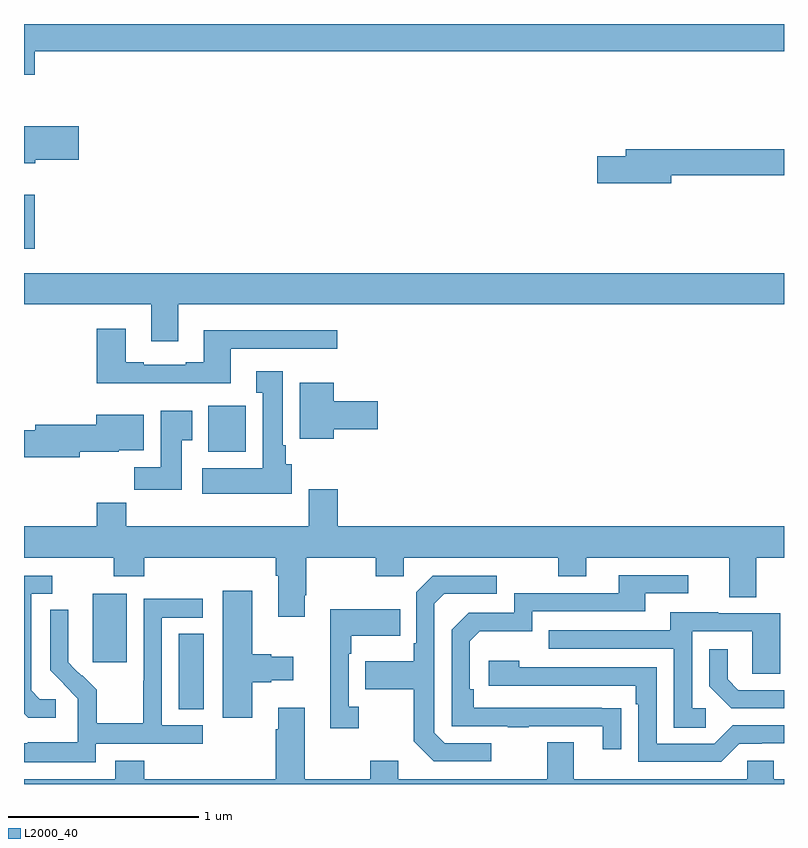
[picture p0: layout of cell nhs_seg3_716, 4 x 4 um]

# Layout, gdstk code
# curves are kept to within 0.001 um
import gdstk
lib = gdstk.Library(unit=1e-6, precision=1e-09)
def R(c, l, rs):  # rectangles x0, y0, x1, y1
    for r in rs: c.add(gdstk.rectangle(r[:2], r[2:], *l))
def P(c, l, *ps):  # polygons
    for p in ps: c.add(gdstk.Polygon(p, *l))
L2000_40 = (2000, 40)

nhs_seg3_716 = lib.new_cell('nhs_seg3_716')
R(nhs_seg3_716, L2000_40, [(147.815,690.793,147.946,691.19), (147.362,691.041,147.541,691.402), (147.971,692.15,148.168,692.392), (147,693.216,147.056,693.502)])
P(nhs_seg3_716, L2000_40, [(147.056,694.256),(151,694.256),(151,694.4),(147,694.4),(147,694.132),(147.056,694.132)],
  [(147.058,693.686),(147.289,693.686),(147.289,693.862),(147,693.862),(147,693.668),(147.058,693.668)],
  [(150.406,693.604),(151,693.604),(151,693.74),(150.167,693.74),(150.167,693.704),(150.018,693.704),(150.018,693.562),(150.406,693.562)],
  [(147.811,692.924),(151,692.924),(151,693.088),(147,693.088),(147,692.924),(147.671,692.924),(147.671,692.73),(147.811,692.73)],
  [(148.087,692.691),(148.648,692.691),(148.648,692.788),(147.947,692.788),(147.947,692.62),(147.851,692.62),(147.851,692.607),(147.631,692.607),(147.631,692.62),(147.535,692.62),(147.535,692.797),(147.383,692.797),(147.383,692.51),(148.087,692.51)],
  [(148.408,692.082),(148.378,692.082),(148.378,692.182),(148.363,692.182),(148.363,692.572),(148.223,692.572),(148.223,692.459),(148.256,692.459),(148.256,692.062),(147.939,692.062),(147.939,691.928),(148.408,691.928)],
  [(148.63,692.267),(148.861,692.267),(148.861,692.414),(148.63,692.414),(148.63,692.512),(148.451,692.512),(148.451,692.216),(148.63,692.216)],
  [(147.829,692.209),(147.886,692.209),(147.886,692.365),(147.719,692.365),(147.719,692.068),(147.58,692.068),(147.58,691.95),(147.829,691.95)],
  [(147.294,692.15),(147.498,692.15),(147.498,692.156),(147.631,692.156),(147.631,692.344),(147.38,692.344),(147.38,692.291),(147.059,692.291),(147.059,692.261),(147,692.261),(147,692.119),(147.294,692.119)],
  [(148.477,691.393),(148.485,691.393),(148.485,691.592),(148.852,691.592),(148.852,691.493),(148.998,691.493),(148.998,691.592),(149.812,691.592),(149.812,691.493),(149.959,691.493),(149.959,691.592),(150.713,691.592),(150.713,691.384),(150.853,691.384),(150.853,691.592),(151,691.592),(151,691.756),(148.652,691.756),(148.652,691.951),(148.499,691.951),(148.499,691.756),(147.539,691.756),(147.539,691.88),(147.383,691.88),(147.383,691.756),(147,691.756),(147,691.592),(147.472,691.592),(147.472,691.493),(147.632,691.493),(147.632,691.592),(148.325,691.592),(148.325,691.496),(148.337,691.496),(148.337,691.281),(148.477,691.281)],
  [(150.143,690.8),(149.366,690.801),(149.366,690.898),(149.346,690.898),(149.346,691.152),(149.399,691.205),(149.676,691.205),(149.676,691.308),(150.271,691.308),(150.271,691.404),(150.496,691.404),(150.496,691.5),(150.131,691.5),(150.131,691.404),(149.58,691.404),(149.58,691.302),(149.34,691.302),(149.25,691.212),(149.25,690.705),(149.545,690.705),(149.545,690.7),(149.657,690.7),(149.657,690.705),(150.047,690.705),(150.047,690.582),(150.143,690.582)],
  [(147.166,690.846),(147.084,690.846),(147.037,690.893),(147.037,691.401),(147.148,691.401),(147.148,691.497),(147,691.497),(147,690.771),(147.022,690.749),(147.166,690.749)],
  [(149.458,690.615),(149.214,690.615),(149.16,690.669),(149.16,691.35),(149.211,691.401),(149.488,691.401),(149.488,691.497),(149.151,691.497),(149.064,691.41),(149.064,691.141),(149.052,691.141),(149.052,691.045),(148.795,691.045),(148.795,690.898),(149.052,690.898),(149.052,690.625),(149.157,690.519),(149.458,690.519)],
  [(148.201,690.935),(148.301,690.935),(148.301,690.947),(148.417,690.947),(148.417,691.069),(148.301,691.069),(148.301,691.082),(148.201,691.082),(148.201,691.417),(148.046,691.417),(148.046,690.75),(148.201,690.75)],
  [(147.378,690.612),(147.94,690.612),(147.94,690.708),(147.726,690.708),(147.726,691.275),(147.94,691.275),(147.94,691.374),(147.63,691.374),(147.63,690.944),(147.628,690.944),(147.628,690.721),(147.383,690.721),(147.383,690.895),(147.306,690.972),(147.303,690.969),(147.233,691.04),(147.234,691.316),(147.138,691.316),(147.138,690.998),(147.284,690.85),(147.284,690.753),(147.282,690.753),(147.282,690.619),(147.019,690.619),(147.019,690.615),(147,690.615),(147,690.515),(147.378,690.515)],
  [(148.762,690.806),(148.71,690.806),(148.71,691.085),(148.723,691.085),(148.723,691.181),(148.979,691.181),(148.979,691.321),(148.613,691.321),(148.613,690.693),(148.762,690.693)],
  [(150.589,690.798),(150.516,690.798),(150.516,691.203),(150.834,691.203),(150.834,690.979),(150.979,690.979),(150.979,691.299),(150.655,691.299),(150.655,691.303),(150.401,691.303),(150.401,691.209),(149.761,691.209),(149.761,691.113),(150.42,691.113),(150.42,690.697),(150.589,690.697)],
  [(151,690.894),(150.76,690.894),(150.703,690.951),(150.703,691.108),(150.606,691.108),(150.606,690.914),(150.722,690.798),(151,690.798)],
  [(150.765,690.612),(150.884,690.612),(150.884,690.615),(151,690.614),(151,690.708),(150.729,690.708),(150.633,690.612),(150.33,690.612),(150.33,691.014),(149.606,691.014),(149.606,691.048),(149.445,691.048),(149.445,690.918),(150.221,690.918),(150.221,690.821),(150.234,690.821),(150.234,690.516),(150.669,690.516)],
  [(151,690.424),(150.945,690.424),(150.945,690.522),(150.807,690.522),(150.807,690.424),(149.893,690.424),(149.893,690.619),(149.753,690.619),(149.753,690.424),(148.969,690.424),(148.969,690.523),(148.822,690.523),(148.822,690.424),(148.477,690.424),(148.477,690.802),(148.337,690.802),(148.337,690.689),(148.325,690.689),(148.325,690.424),(147.632,690.424),(147.632,690.523),(147.479,690.523),(147.479,690.424),(147,690.424),(147,690.4),(151,690.4)])

lib.write_gds('nhs_seg3_716.gds')
